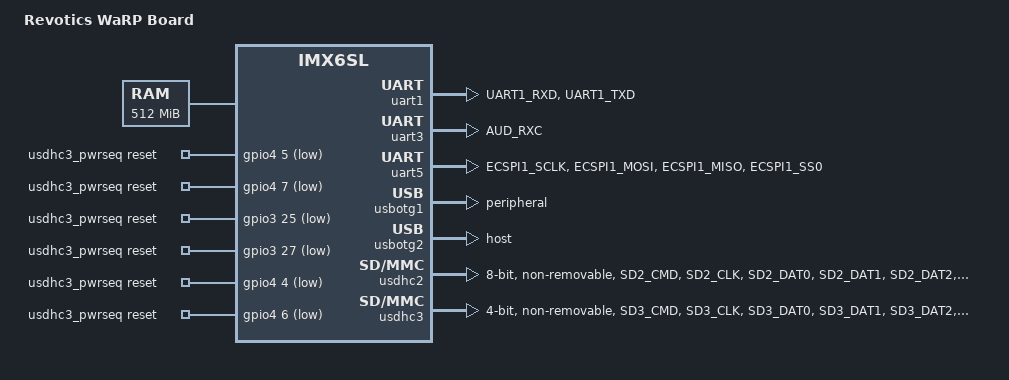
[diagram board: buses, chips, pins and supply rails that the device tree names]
/*
 * Copyright 2014, 2015 O.S. Systems Software LTDA.
 *
 * This file is dual-licensed: you can use it either under the terms
 * of the GPL or the X11 license, at your option. Note that this dual
 * licensing only applies to this file, and not this project as a
 * whole.
 *
 *  a) This file is free software; you can redistribute it and/or
 *     modify it under the terms of the GNU General Public License as
 *     published by the Free Software Foundation; either version 2 of
 *     the License, or (at your option) any later version.
 *
 *     This file is distributed in the hope that it will be useful,
 *     but WITHOUT ANY WARRANTY; without even the implied warranty of
 *     MERCHANTABILITY or FITNESS FOR A PARTICULAR PURPOSE.  See the
 *     GNU General Public License for more details.
 *
 *     You should have received a copy of the GNU General Public
 *     License along with this file; if not, write to the Free
 *     Software Foundation, Inc., 51 Franklin St, Fifth Floor, Boston,
 *     MA 02110-1301 USA
 *
 * Or, alternatively,
 *
 *  b) Permission is hereby granted, free of charge, to any person
 *     obtaining a copy of this software and associated documentation
 *     files (the "Software"), to deal in the Software without
 *     restriction, including without limitation the rights to use,
 *     copy, modify, merge, publish, distribute, sublicense, and/or
 *     sell copies of the Software, and to permit persons to whom the
 *     Software is furnished to do so, subject to the following
 *     conditions:
 *
 *     The above copyright notice and this permission notice shall be
 *     included in all copies or substantial portions of the Software.
 *
 *     THE SOFTWARE IS PROVIDED "AS IS", WITHOUT WARRANTY OF ANY KIND,
 *     EXPRESS OR IMPLIED, INCLUDING BUT NOT LIMITED TO THE WARRANTIES
 *     OF MERCHANTABILITY, FITNESS FOR A PARTICULAR PURPOSE AND
 *     NONINFRINGEMENT. IN NO EVENT SHALL THE AUTHORS OR COPYRIGHT
 *     HOLDERS BE LIABLE FOR ANY CLAIM, DAMAGES OR OTHER LIABILITY,
 *     WHETHER IN AN ACTION OF CONTRACT, TORT OR OTHERWISE, ARISING
 *     FROM, OUT OF OR IN CONNECTION WITH THE SOFTWARE OR THE USE OR
 *     OTHER DEALINGS IN THE SOFTWARE.
 */

/dts-v1/;

#include <dt-bindings/gpio/gpio.h>
#include "imx6sl.dtsi"

/ {
	model = "Revotics WaRP Board";
	compatible = "revotics,imx6sl-warp", "fsl,imx6sl";

	memory@80000000 {
		device_type = "memory";
		reg = <0x80000000 0x20000000>;
	};

	usdhc3_pwrseq: usdhc3_pwrseq {
		compatible = "mmc-pwrseq-simple";
		reset-gpios = <&gpio4 5 GPIO_ACTIVE_LOW>, 	/* WL_REG_ON */
			      <&gpio4 7 GPIO_ACTIVE_LOW>, 	/* WL_HOSTWAKE */
			      <&gpio3 25 GPIO_ACTIVE_LOW>, 	/* BT_REG_ON */
			      <&gpio3 27 GPIO_ACTIVE_LOW>,	/* BT_HOSTWAKE */
			      <&gpio4 4 GPIO_ACTIVE_LOW>, 	/* BT_WAKE */
			      <&gpio4 6 GPIO_ACTIVE_LOW>; 	/* BT_RST_N */
	};
};

&uart1 {
	pinctrl-names = "default";
	pinctrl-0 = <&pinctrl_uart1>;
	status = "okay";
};

&uart3 {
	pinctrl-names = "default";
	pinctrl-0 = <&pinctrl_uart3>;
	status = "okay";
};

&uart5 {
	pinctrl-names = "default";
	pinctrl-0 = <&pinctrl_uart5>;
	uart-has-rtscts;
	status = "okay";
};

&usbotg1 {
	dr_mode = "peripheral";
	disable-over-current;
	status = "okay";
};

&usbotg2 {
	dr_mode = "host";
	disable-over-current;
	status = "okay";
};

&usdhc2 {
	pinctrl-names = "default", "state_100mhz", "state_200mhz";
	pinctrl-0 = <&pinctrl_usdhc2>;
	pinctrl-1 = <&pinctrl_usdhc2_100mhz>;
	pinctrl-2 = <&pinctrl_usdhc2_200mhz>;
	bus-width = <8>;
	non-removable;
	status = "okay";
};

&usdhc3 {
	pinctrl-names = "default", "state_100mhz", "state_200mhz";
	pinctrl-0 = <&pinctrl_usdhc3>;
	pinctrl-1 = <&pinctrl_usdhc3_100mhz>;
	pinctrl-2 = <&pinctrl_usdhc3_200mhz>;
	bus-width = <4>;
	non-removable;
	keep-power-in-suspend;
	wakeup-source;
	mmc-pwrseq = <&usdhc3_pwrseq>;
	status = "okay";
};

&iomuxc {
	imx6sl-warp {
		pinctrl_uart1: uart1grp {
			fsl,pins = <
				MX6SL_PAD_UART1_RXD__UART1_RX_DATA	0x41b0b1
				MX6SL_PAD_UART1_TXD__UART1_TX_DATA	0x41b0b1
			>;
		};


		pinctrl_uart3: uart3grp {
			fsl,pins = <
				MX6SL_PAD_AUD_RXC__UART3_RX_DATA	0x41b0b1
				MX6SL_PAD_AUD_RXC__UART3_TX_DATA	0x41b0b1
			>;
		};

		pinctrl_uart5: uart5grp {
			fsl,pins = <
				MX6SL_PAD_ECSPI1_SCLK__UART5_RX_DATA	0x41b0b1
				MX6SL_PAD_ECSPI1_MOSI__UART5_TX_DATA	0x41b0b1
				MX6SL_PAD_ECSPI1_MISO__UART5_RTS_B	0x4130b1
				MX6SL_PAD_ECSPI1_SS0__UART5_CTS_B	0x4130b1
			>;
		};

		pinctrl_usdhc2: usdhc2grp {
			fsl,pins = <
				MX6SL_PAD_SD2_CMD__SD2_CMD		0x417059
				MX6SL_PAD_SD2_CLK__SD2_CLK		0x410059
				MX6SL_PAD_SD2_DAT0__SD2_DATA0		0x417059
				MX6SL_PAD_SD2_DAT1__SD2_DATA1		0x417059
				MX6SL_PAD_SD2_DAT2__SD2_DATA2		0x417059
				MX6SL_PAD_SD2_DAT3__SD2_DATA3		0x417059
				MX6SL_PAD_SD2_DAT4__SD2_DATA4		0x417059
				MX6SL_PAD_SD2_DAT5__SD2_DATA5		0x417059
				MX6SL_PAD_SD2_DAT6__SD2_DATA6		0x417059
				MX6SL_PAD_SD2_DAT7__SD2_DATA7		0x417059
				MX6SL_PAD_SD2_RST__SD2_RESET		0x417059
			>;
		};

		pinctrl_usdhc2_100mhz: usdhc2-100mhz-grp {
			fsl,pins = <
				MX6SL_PAD_SD2_CMD__SD2_CMD		0x4170b9
				MX6SL_PAD_SD2_CLK__SD2_CLK		0x4100b9
				MX6SL_PAD_SD2_DAT0__SD2_DATA0		0x4170b9
				MX6SL_PAD_SD2_DAT1__SD2_DATA1		0x4170b9
				MX6SL_PAD_SD2_DAT2__SD2_DATA2		0x4170b9
				MX6SL_PAD_SD2_DAT3__SD2_DATA3		0x4170b9
				MX6SL_PAD_SD2_DAT4__SD2_DATA4		0x4170b9
				MX6SL_PAD_SD2_DAT5__SD2_DATA5		0x4170b9
				MX6SL_PAD_SD2_DAT6__SD2_DATA6		0x4170b9
				MX6SL_PAD_SD2_DAT7__SD2_DATA7		0x4170b9
				MX6SL_PAD_SD2_RST__SD2_RESET		0x4170b9
			>;
		};

		pinctrl_usdhc2_200mhz: usdhc2-200mhz-grp {
			fsl,pins = <
				MX6SL_PAD_SD2_CMD__SD2_CMD		0x4170f9
				MX6SL_PAD_SD2_CLK__SD2_CLK		0x4100f9
				MX6SL_PAD_SD2_DAT0__SD2_DATA0		0x4170f9
				MX6SL_PAD_SD2_DAT1__SD2_DATA1		0x4170f9
				MX6SL_PAD_SD2_DAT2__SD2_DATA2		0x4170f9
				MX6SL_PAD_SD2_DAT3__SD2_DATA3		0x4170f9
				MX6SL_PAD_SD2_DAT4__SD2_DATA4		0x4170f9
				MX6SL_PAD_SD2_DAT5__SD2_DATA5		0x4170f9
				MX6SL_PAD_SD2_DAT6__SD2_DATA6		0x4170f9
				MX6SL_PAD_SD2_DAT7__SD2_DATA7		0x4170f9
				MX6SL_PAD_SD2_RST__SD2_RESET		0x4170f9
			>;
		};

		pinctrl_usdhc3: usdhc3grp {
			fsl,pins = <
				MX6SL_PAD_SD3_CMD__SD3_CMD		0x417059
				MX6SL_PAD_SD3_CLK__SD3_CLK		0x410059
				MX6SL_PAD_SD3_DAT0__SD3_DATA0		0x417059
				MX6SL_PAD_SD3_DAT1__SD3_DATA1		0x417059
				MX6SL_PAD_SD3_DAT2__SD3_DATA2		0x417059
				MX6SL_PAD_SD3_DAT3__SD3_DATA3		0x417059
			>;
		};

		pinctrl_usdhc3_100mhz: usdhc3-100mhz-grp {
			fsl,pins = <
				MX6SL_PAD_SD3_CMD__SD3_CMD		0x4170b9
				MX6SL_PAD_SD3_CLK__SD3_CLK		0x4100b9
				MX6SL_PAD_SD3_DAT0__SD3_DATA0		0x4170b9
				MX6SL_PAD_SD3_DAT1__SD3_DATA1		0x4170b9
				MX6SL_PAD_SD3_DAT2__SD3_DATA2		0x4170b9
				MX6SL_PAD_SD3_DAT3__SD3_DATA3		0x4170b9
			>;
		};

		pinctrl_usdhc3_200mhz: usdhc3-200mhz-grp {
			fsl,pins = <
				MX6SL_PAD_SD3_CMD__SD3_CMD		0x4170f9
				MX6SL_PAD_SD3_CLK__SD3_CLK		0x4100f9
				MX6SL_PAD_SD3_DAT0__SD3_DATA0		0x4170f9
				MX6SL_PAD_SD3_DAT1__SD3_DATA1		0x4170f9
				MX6SL_PAD_SD3_DAT2__SD3_DATA2		0x4170f9
				MX6SL_PAD_SD3_DAT3__SD3_DATA3		0x4170f9
			>;
		};
	};
};
